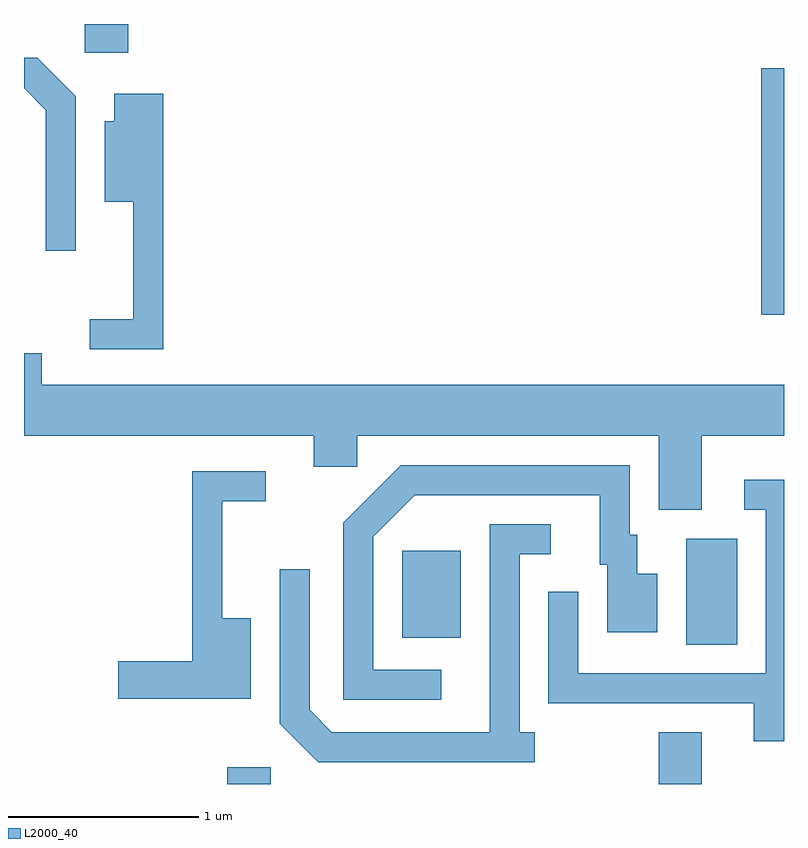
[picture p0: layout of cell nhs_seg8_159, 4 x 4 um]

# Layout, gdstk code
import gdstk
lib = gdstk.Library(unit=1e-6, precision=1e-09)
def R(c, l, rs):  # rectangles x0, y0, x1, y1
    for r in rs: c.add(gdstk.rectangle(r[:2], r[2:], *l))
def P(c, l, *ps):  # polygons
    for p in ps: c.add(gdstk.Polygon(p, *l))
L2000_40 = (2000, 40)

nhs_seg8_159 = lib.new_cell('nhs_seg8_159')
R(nhs_seg8_159, L2000_40, [(190.681,1852.342,190.909,1852.429), (192.951,1852.342,193.179,1852.614), (193.096,1853.076,193.364,1853.634), (191.601,1853.111,191.909,1853.569), (193.491,1854.811,193.611,1856.109), (189.931,1856.191,190.159,1856.342)])
P(nhs_seg8_159, L2000_40, [(189.884,1855.962),(189.682,1856.164),(189.611,1856.164),(189.611,1856.004),(189.726,1855.889),(189.726,1855.148),(189.884,1855.148)],
  [(190.344,1855.974),(190.086,1855.974),(190.086,1855.829),(190.036,1855.829),(190.036,1855.406),(190.186,1855.406),(190.186,1854.789),(189.958,1854.789),(189.958,1854.631),(190.344,1854.631)],
  [(193.179,1854.176),(193.611,1854.176),(193.611,1854.444),(189.704,1854.444),(189.704,1854.609),(189.611,1854.609),(189.611,1854.176),(191.136,1854.176),(191.136,1854.011),(191.364,1854.011),(191.364,1854.176),(192.951,1854.176),(192.951,1853.786),(193.179,1853.786)],
  [(191.808,1852.944),(191.449,1852.944),(191.449,1853.644),(191.667,1853.861),(192.641,1853.861),(192.641,1853.496),(192.681,1853.496),(192.681,1853.141),(192.944,1853.141),(192.944,1853.449),(192.839,1853.449),(192.839,1853.654),(192.799,1853.654),(192.799,1854.019),(191.594,1854.019),(191.291,1853.717),(191.291,1852.786),(191.808,1852.786)],
  [(190.804,1853.214),(190.654,1853.214),(190.654,1853.831),(190.883,1853.831),(190.883,1853.989),(190.496,1853.989),(190.496,1852.989),(190.106,1852.989),(190.106,1852.791),(190.804,1852.791)],
  [(193.611,1853.944),(193.403,1853.944),(193.403,1853.786),(193.516,1853.786),(193.516,1852.924),(192.529,1852.924),(192.529,1853.353),(192.371,1853.353),(192.371,1852.766),(193.451,1852.766),(193.451,1852.566),(193.611,1852.566)],
  [(192.298,1852.614),(192.219,1852.614),(192.219,1853.551),(192.383,1853.551),(192.383,1853.709),(192.061,1853.709),(192.061,1852.614),(191.232,1852.614),(191.114,1852.732),(191.114,1853.473),(190.956,1853.473),(190.956,1852.659),(191.159,1852.456),(192.298,1852.456)])

lib.write_gds('nhs_seg8_159.gds')
